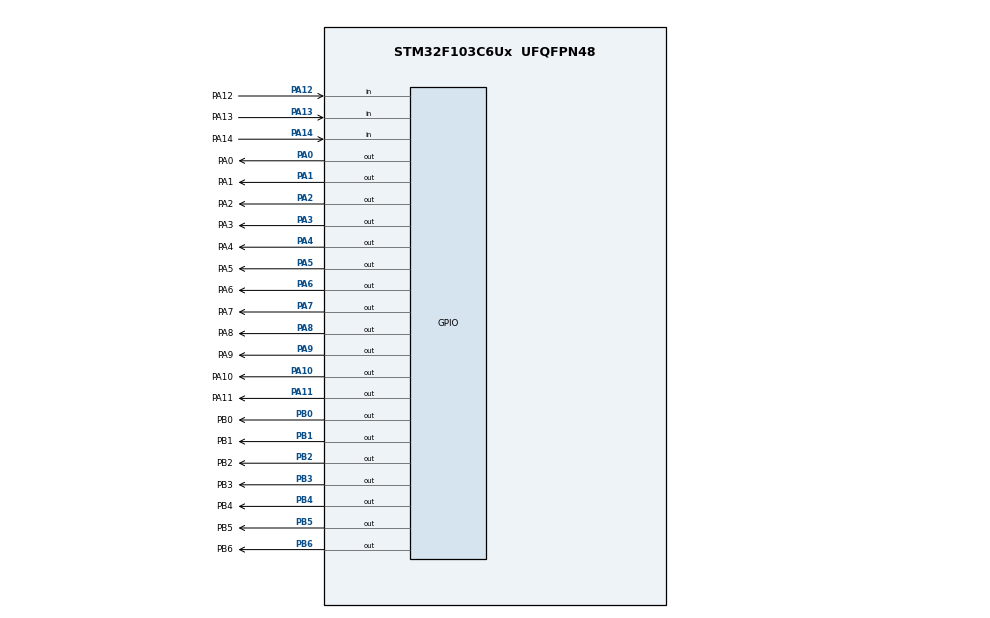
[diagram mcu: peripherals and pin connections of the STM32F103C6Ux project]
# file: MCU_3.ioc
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Mcu.Family=STM32F1
Mcu.Name=STM32F103C6Ux
Mcu.Package=UFQFPN48
NVIC.PriorityGroup=NVIC_PRIORITYGROUP_4
NVIC.TIM2_IRQn=true\:0\:0\:false\:false\:true\:true\:true\:true
PA0-WKUP.GPIO_Label=PA0
PA0-WKUP.Signal=GPIO_Output
PA1.GPIO_Label=PA1
PA1.Signal=GPIO_Output
PA10.GPIO_Label=PA10
PA10.Signal=GPIO_Output
PA11.GPIO_Label=PA11
PA11.Signal=GPIO_Output
PA12.GPIO_Label=PA12
PA12.GPIO_PuPd=GPIO_PULLUP
PA12.Signal=GPIO_Input
PA13.GPIO_Label=PA13
PA13.GPIO_PuPd=GPIO_PULLUP
PA13.Signal=GPIO_Input
PA14.GPIO_Label=PA14
PA14.GPIO_PuPd=GPIO_PULLUP
PA14.Signal=GPIO_Input
PA2.GPIO_Label=PA2
PA2.Signal=GPIO_Output
PA3.GPIO_Label=PA3
PA3.Signal=GPIO_Output
PA4.GPIO_Label=PA4
PA4.Signal=GPIO_Output
PA5.GPIO_Label=PA5
PA5.Signal=GPIO_Output
PA6.GPIO_Label=PA6
PA6.Signal=GPIO_Output
PA7.GPIO_Label=PA7
PA7.Signal=GPIO_Output
PA8.GPIO_Label=PA8
PA8.Signal=GPIO_Output
PA9.GPIO_Label=PA9
PA9.Signal=GPIO_Output
PB0.GPIO_Label=PB0
PB0.Signal=GPIO_Output
PB1.GPIO_Label=PB1
PB1.Signal=GPIO_Output
PB2.GPIO_Label=PB2
PB2.Signal=GPIO_Output
PB3.GPIO_Label=PB3
PB3.Signal=GPIO_Output
PB4.GPIO_Label=PB4
PB4.Signal=GPIO_Output
PB5.GPIO_Label=PB5
PB5.Signal=GPIO_Output
PB6.GPIO_Label=PB6
PB6.Signal=GPIO_Output
ProjectManager.HeapSize=0x200
ProjectManager.StackSize=0x400
ProjectManager.TargetToolchain=STM32CubeIDE
RCC.APB1Freq_Value=8000000
RCC.APB2Freq_Value=8000000
TIM2.Period=9
TIM2.Prescaler=7999
VP_SYS_VS_ND.Mode=No_Debug
VP_TIM2_VS_ClockSourceINT.Mode=Internal
board=custom

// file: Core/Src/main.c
/* USER CODE BEGIN Header */
/**
  ******************************************************************************
  * @file           : main.c
  * @brief          : Main program body
  ******************************************************************************
  * @attention
  *
  * Copyright (c) 2023 STMicroelectronics.
  * All rights reserved.
  *
  * This software is licensed under terms that can be found in the LICENSE file
  * in the root directory of this software component.
  * If no LICENSE file comes with this software, it is provided AS-IS.
  *
  ******************************************************************************
  */
/* USER CODE END Header */
#include "main.h"

/* USER CODE BEGIN Includes */
#include "button.h"
#include "software_timer.h"
#include "led7seg.h"
#include "fsm.h"
#include "traffic_ligh.h"
/* USER CODE END Includes */

TIM_HandleTypeDef htim2;

void SystemClock_Config(void);
static void MX_GPIO_Init(void);
static void MX_TIM2_Init(void);

/* USER CODE BEGIN 0 */
void Ex_Init(){
	HAL_GPIO_WritePin(GPIOA, PA1_Pin| PA2_Pin | PA3_Pin |PA4_Pin |
						PA5_Pin | PA6_Pin, SET); // for control the led
	HAL_GPIO_WritePin(GPIOA, PA7_Pin | PA8_Pin | PA9_Pin |PA10_Pin , SET); //for control led7seg
}

/* USER CODE END 0 */

int main(void)
{

  /* MCU Configuration--------------------------------------------------------*/

  /* Reset of all peripherals, Initializes the Flash interface and the Systick. */
  HAL_Init();

  /* Configure the system clock */
  SystemClock_Config();

  /* Initialize all configured peripherals */
  MX_GPIO_Init();
  MX_TIM2_Init();
  /* USER CODE BEGIN 2 */
  HAL_TIM_Base_Start_IT(&htim2);

  /* USER CODE END 2 */

  /* Infinite loop */
  /* USER CODE BEGIN WHILE */
  Ex_Init();
  setTimer0(10);
  setTimer3(1);
  while (1)
  {
    /* USER CODE END WHILE */

    /* USER CODE BEGIN 3 */

	  fsm_mode_run();
  }
  /* USER CODE END 3 */
}

void SystemClock_Config(void)
{
  RCC_OscInitTypeDef RCC_OscInitStruct = {0};
  RCC_ClkInitTypeDef RCC_ClkInitStruct = {0};

  /** Initializes the RCC Oscillators according to the specified parameters
  * in the RCC_OscInitTypeDef structure.
  */
  RCC_OscInitStruct.OscillatorType = RCC_OSCILLATORTYPE_HSI;
  RCC_OscInitStruct.HSIState = RCC_HSI_ON;
  RCC_OscInitStruct.HSICalibrationValue = RCC_HSICALIBRATION_DEFAULT;
  RCC_OscInitStruct.PLL.PLLState = RCC_PLL_NONE;
  if (HAL_RCC_OscConfig(&RCC_OscInitStruct) != HAL_OK)
  {
    Error_Handler();
  }

  /** Initializes the CPU, AHB and APB buses clocks
  */
  RCC_ClkInitStruct.ClockType = RCC_CLOCKTYPE_HCLK|RCC_CLOCKTYPE_SYSCLK
                              |RCC_CLOCKTYPE_PCLK1|RCC_CLOCKTYPE_PCLK2;
  RCC_ClkInitStruct.SYSCLKSource = RCC_SYSCLKSOURCE_HSI;
  RCC_ClkInitStruct.AHBCLKDivider = RCC_SYSCLK_DIV1;
  RCC_ClkInitStruct.APB1CLKDivider = RCC_HCLK_DIV1;
  RCC_ClkInitStruct.APB2CLKDivider = RCC_HCLK_DIV1;

  if (HAL_RCC_ClockConfig(&RCC_ClkInitStruct, FLASH_LATENCY_0) != HAL_OK)
  {
    Error_Handler();
  }
}

static void MX_TIM2_Init(void)
{

  TIM_ClockConfigTypeDef sClockSourceConfig = {0};
  TIM_MasterConfigTypeDef sMasterConfig = {0};

  htim2.Instance = TIM2;
  htim2.Init.Prescaler = 7999;
  htim2.Init.CounterMode = TIM_COUNTERMODE_UP;
  htim2.Init.Period = 9;
  htim2.Init.ClockDivision = TIM_CLOCKDIVISION_DIV1;
  htim2.Init.AutoReloadPreload = TIM_AUTORELOAD_PRELOAD_DISABLE;
  if (HAL_TIM_Base_Init(&htim2) != HAL_OK)
  {
    Error_Handler();
  }
  sClockSourceConfig.ClockSource = TIM_CLOCKSOURCE_INTERNAL;
  if (HAL_TIM_ConfigClockSource(&htim2, &sClockSourceConfig) != HAL_OK)
  {
    Error_Handler();
  }
  sMasterConfig.MasterOutputTrigger = TIM_TRGO_RESET;
  sMasterConfig.MasterSlaveMode = TIM_MASTERSLAVEMODE_DISABLE;
  if (HAL_TIMEx_MasterConfigSynchronization(&htim2, &sMasterConfig) != HAL_OK)
  {
    Error_Handler();
  }

}

static void MX_GPIO_Init(void)
{
  GPIO_InitTypeDef GPIO_InitStruct = {0};

  /* GPIO Ports Clock Enable */
  __HAL_RCC_GPIOA_CLK_ENABLE();
  __HAL_RCC_GPIOB_CLK_ENABLE();

  /*Configure GPIO pin Output Level */
  HAL_GPIO_WritePin(GPIOA, PA0_Pin|PA1_Pin|PA2_Pin|PA3_Pin
                          |PA4_Pin|PA5_Pin|PA6_Pin|PA7_Pin
                          |PA8_Pin|PA9_Pin|PA10_Pin|PA11_Pin, GPIO_PIN_RESET);

  /*Configure GPIO pin Output Level */
  HAL_GPIO_WritePin(GPIOB, PB0_Pin|PB1_Pin|PB2_Pin|PB3_Pin
                          |PB4_Pin|PB5_Pin|PB6_Pin, GPIO_PIN_RESET);

  /*Configure GPIO pins : PA0_Pin PA1_Pin PA2_Pin PA3_Pin
                           PA4_Pin PA5_Pin PA6_Pin PA7_Pin
                           PA8_Pin PA9_Pin PA10_Pin PA11_Pin */
  GPIO_InitStruct.Pin = PA0_Pin|PA1_Pin|PA2_Pin|PA3_Pin
                          |PA4_Pin|PA5_Pin|PA6_Pin|PA7_Pin
                          |PA8_Pin|PA9_Pin|PA10_Pin|PA11_Pin;
  GPIO_InitStruct.Mode = GPIO_MODE_OUTPUT_PP;
  GPIO_InitStruct.Pull = GPIO_NOPULL;
  GPIO_InitStruct.Speed = GPIO_SPEED_FREQ_LOW;
  HAL_GPIO_Init(GPIOA, &GPIO_InitStruct);

  /*Configure GPIO pins : PB0_Pin PB1_Pin PB2_Pin PB3_Pin
                           PB4_Pin PB5_Pin PB6_Pin */
  GPIO_InitStruct.Pin = PB0_Pin|PB1_Pin|PB2_Pin|PB3_Pin
                          |PB4_Pin|PB5_Pin|PB6_Pin;
  GPIO_InitStruct.Mode = GPIO_MODE_OUTPUT_PP;
  GPIO_InitStruct.Pull = GPIO_NOPULL;
  GPIO_InitStruct.Speed = GPIO_SPEED_FREQ_LOW;
  HAL_GPIO_Init(GPIOB, &GPIO_InitStruct);

  /*Configure GPIO pins : PA12_Pin PA13_Pin PA14_Pin */
  GPIO_InitStruct.Pin = PA12_Pin|PA13_Pin|PA14_Pin;
  GPIO_InitStruct.Mode = GPIO_MODE_INPUT;
  GPIO_InitStruct.Pull = GPIO_PULLUP;
  HAL_GPIO_Init(GPIOA, &GPIO_InitStruct);

}

/* USER CODE BEGIN 4 */
void HAL_TIM_PeriodElapsedCallback (TIM_HandleTypeDef *htim ){
	timerRun();
	getKeyInput();
}

/* USER CODE END 4 */

void Error_Handler(void)
{
  __disable_irq();
  while (1)
  {
  }
}
